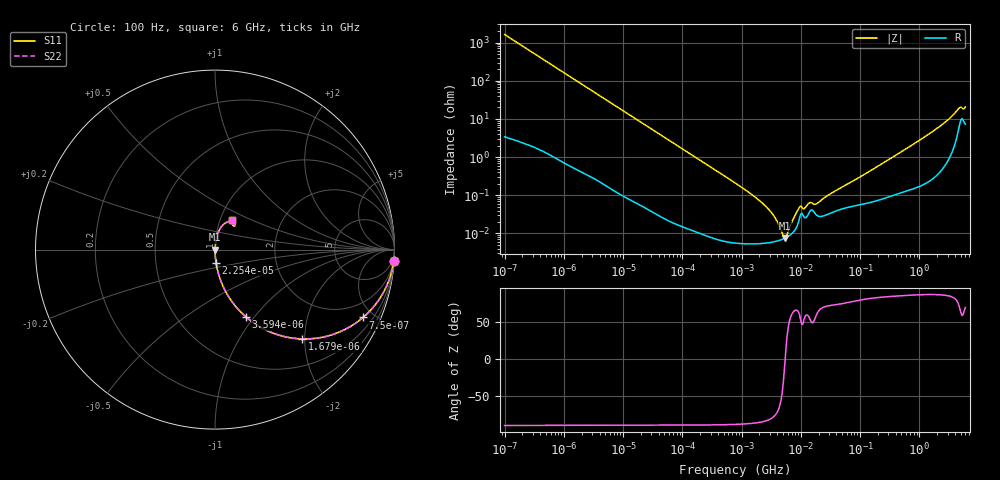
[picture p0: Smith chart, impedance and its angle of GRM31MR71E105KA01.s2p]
!Murata Part Number: GRM31MR71E105KA01
!These Parameters are Measured in Series Mode Connection
!Data Generated on Mar 30, 2021
!  o--ll--o
!Port1  Port2
!  o------o
!Operation Temp=25[degC], DC Bias Voltage=0[V]
!Freq. Start=100[Hz] Stop=6[GHz] 401[Steps]
# Hz S RI R 50
!Freq.(Hz) S11(Real) S11(Imag) S21(Real) S21(Imag) S12(Real) S12(Imag) S22(Real) S22(Imag)
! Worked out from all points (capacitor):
!   401 points, 100 Hz to 6 GHz, reference 50 ohm
!   read as one part in series: C = 978 nF near 109 Hz
!   lowest |Z| = 7.62 mohm at 5.312 MHz (marker M1)
!   series resonance near 5.439 MHz, so ESL is about 880 pH
!   S11 on the Smith chart (normalised r, x): 100 Hz: 1, -33; 750 Hz: 1.02, -4.36; 1.679 kHz: 1.01, -1.95; 3.594 kHz: 1.00, -0.91; 22.54 kHz: 1.00, -0.15; 6 GHz: 1.15, +0.39
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100  0.9961 -0.0613  0.0039 0.0613  0.0039 0.0613  0.9961 -0.0613
350  0.9552 -0.2052  0.0448 0.2052  0.0448 0.2052  0.9552 -0.2052
750  0.8248 -0.378  0.1752 0.378  0.1752 0.378  0.8248 -0.378
1679  0.4873 -0.4975  0.5127 0.4975  0.5127 0.4975  0.4873 -0.4975
2008  0.3998 -0.4874  0.6002 0.4874  0.6002 0.4874  0.3998 -0.4874
3594  0.1738 -0.3762  0.8262 0.3762  0.8262 0.3762  0.1738 -0.3762
7358  0.0487 -0.2124  0.9513 0.2124  0.9513 0.2124  0.0487 -0.2124
22537  0.00582 -0.0728  0.9942 0.0728  0.9942 0.0728  0.00582 -0.0728
40335  0.00197 -0.041  0.998 0.041  0.998 0.041  0.00197 -0.041
774597  6.05e-05 -0.00212  0.9999 0.00212  0.9999 0.00212  6.05e-05 -0.00212
2594782  5.63e-05 -0.000501  0.9999 0.000501  0.9999 0.000501  5.63e-05 -0.000501
3394479  5.99e-05 -0.000304  0.9999 0.000304  0.9999 0.000304  5.99e-05 -0.000304
4643984  6.85e-05 -9.98e-05  0.9999 9.98e-05  0.9999 9.98e-05  6.85e-05 -9.98e-05
5311619  7.47e-05 -1.5e-05  0.9999 1.5e-05  0.9999 1.5e-05  7.47e-05 -1.5e-05
6075234  8.36e-05 7.15e-05  0.9999 -7.15e-05  0.9999 -7.15e-05  8.36e-05 7.15e-05
9506416  0.000248 0.00042  0.9998 -0.00042  0.9998 -0.00042  0.000248 0.00042
1.555665e7  0.000413 0.000468  0.9996 -0.000468  0.9996 -0.000468  0.000413 0.000468
1.86079e7  0.000299 0.000526  0.9997 -0.000526  0.9997 -0.000526  0.000299 0.000526
3.124326e8  0.000997 0.00878  0.999 -0.00878  0.999 -0.00878  0.000997 0.00878
1.95892e9  0.00632 0.0549  0.9937 -0.0549  0.9937 -0.0549  0.00632 0.0549
4.586474e9  0.0754 0.1561  0.9246 -0.1561  0.9246 -0.1561  0.0754 0.1561
6e9  0.097 0.1627  0.903 -0.1627  0.903 -0.1627  0.097 0.1627
